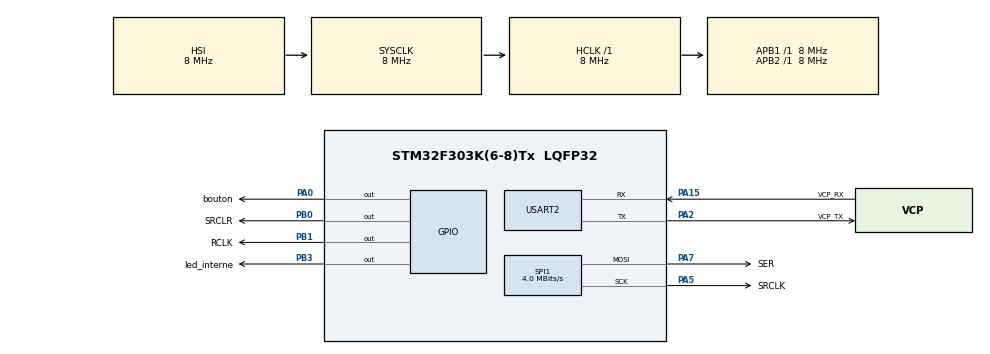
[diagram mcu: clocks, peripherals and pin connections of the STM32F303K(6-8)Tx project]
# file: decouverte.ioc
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FREERTOS.Tasks01=defaultTask,0,128,StartDefaultTask,Default,NULL
Mcu.Family=STM32F3
Mcu.Name=STM32F303K(6-8)Tx
Mcu.Package=LQFP32
NVIC.PriorityGroup=NVIC_PRIORITYGROUP_4
PA0.GPIO_Label=bouton
PA0.Signal=GPIO_Output
PA13.GPIO_Label=SWDIO
PA13.Mode=Serial_Wire
PA13.Signal=SYS_JTMS-SWDIO
PA14.GPIO_Label=SWCLK
PA14.Mode=Serial_Wire
PA14.Signal=SYS_JTCK-SWCLK
PA15.GPIO_Label=VCP_RX
PA15.Mode=Asynchronous
PA15.Signal=USART2_RX
PA2.GPIO_Label=VCP_TX
PA2.Mode=Asynchronous
PA2.Signal=USART2_TX
PA5.GPIO_Label=SRCLK
PA5.Mode=TX_Only_Simplex_Unidirect_Master
PA5.Signal=SPI1_SCK
PA7.GPIO_Label=SER
PA7.Mode=TX_Only_Simplex_Unidirect_Master
PA7.Signal=SPI1_MOSI
PB0.GPIO_Label=SRCLR
PB0.GPIO_PuPd=GPIO_PULLUP
PB0.Signal=GPIO_Output
PB1.GPIO_Label=RCLK
PB1.GPIO_PuPd=GPIO_PULLDOWN
PB1.Signal=GPIO_Output
PB3.GPIO_Label=led_interne
PB3.GPIO_PuPd=GPIO_PULLDOWN
PB3.Signal=GPIO_Output
PF0\ /\ OSC_IN.GPIO_Label=MCO
PF0\ /\ OSC_IN.Mode=HSE-External-Clock-Source
PF0\ /\ OSC_IN.Signal=RCC_OSC_IN
ProjectManager.HeapSize=0x200
ProjectManager.StackSize=0x400
ProjectManager.TargetToolchain=SW4STM32
RCC.AHBFreq_Value=8000000
RCC.APB1Freq_Value=8000000
RCC.APB2Freq_Value=8000000
RCC.CortexFreq_Value=8000000
RCC.HSE_VALUE=8000000
RCC.HSI_VALUE=8000000
RCC.SYSCLKFreq_VALUE=8000000
SPI1.BaudRatePrescaler=SPI_BAUDRATEPRESCALER_2
SPI1.CalculateBaudRate=4.0 MBits/s
SPI1.DataSize=SPI_DATASIZE_8BIT
SPI1.Direction=SPI_DIRECTION_2LINES
SPI1.Mode=SPI_MODE_MASTER
SPI1.VirtualType=VM_MASTER
USART2.VirtualMode-Asynchronous=VM_ASYNC
VP_FREERTOS_VS_ENABLE.Mode=Enabled
board=NUCLEO-F303K8

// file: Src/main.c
/**
  ******************************************************************************
  * @file           : main.c
  * @brief          : Main program body
  ******************************************************************************
  * This notice applies to any and all portions of this file
  * that are not between comment pairs USER CODE BEGIN and
  * USER CODE END. Other portions of this file, whether
  * inserted by the user or by software development tools
  * are owned by their respective copyright owners.
  *
  * Copyright (c) 2018 STMicroelectronics International N.V.
  * All rights reserved.
  *
  * Redistribution and use in source and binary forms, with or without
  * modification, are permitted, provided that the following conditions are met:
  *
  * 1. Redistribution of source code must retain the above copyright notice,
  *    this list of conditions and the following disclaimer.
  * 2. Redistributions in binary form must reproduce the above copyright notice,
  *    this list of conditions and the following disclaimer in the documentation
  *    and/or other materials provided with the distribution.
  * 3. Neither the name of STMicroelectronics nor the names of other
  *    contributors to this software may be used to endorse or promote products
  *    derived from this software without specific written permission.
  * 4. This software, including modifications and/or derivative works of this
  *    software, must execute solely and exclusively on microcontroller or
  *    microprocessor devices manufactured by or for STMicroelectronics.
  * 5. Redistribution and use of this software other than as permitted under
  *    this license is void and will automatically terminate your rights under
  *    this license.
  *
  * THIS SOFTWARE IS PROVIDED BY STMICROELECTRONICS AND CONTRIBUTORS "AS IS"
  * AND ANY EXPRESS, IMPLIED OR STATUTORY WARRANTIES, INCLUDING, BUT NOT
  * LIMITED TO, THE IMPLIED WARRANTIES OF MERCHANTABILITY, FITNESS FOR A
  * PARTICULAR PURPOSE AND NON-INFRINGEMENT OF THIRD PARTY INTELLECTUAL PROPERTY
  * RIGHTS ARE DISCLAIMED TO THE FULLEST EXTENT PERMITTED BY LAW. IN NO EVENT
  * SHALL STMICROELECTRONICS OR CONTRIBUTORS BE LIABLE FOR ANY DIRECT, INDIRECT,
  * INCIDENTAL, SPECIAL, EXEMPLARY, OR CONSEQUENTIAL DAMAGES (INCLUDING, BUT NOT
  * LIMITED TO, PROCUREMENT OF SUBSTITUTE GOODS OR SERVICES; LOSS OF USE, DATA,
  * OR PROFITS; OR BUSINESS INTERRUPTION) HOWEVER CAUSED AND ON ANY THEORY OF
  * LIABILITY, WHETHER IN CONTRACT, STRICT LIABILITY, OR TORT (INCLUDING
  * NEGLIGENCE OR OTHERWISE) ARISING IN ANY WAY OUT OF THE USE OF THIS SOFTWARE,
  * EVEN IF ADVISED OF THE POSSIBILITY OF SUCH DAMAGE.
  *
  ******************************************************************************
  */
#include "main.h"
#include "stm32f3xx_hal.h"
#include "cmsis_os.h"

/* USER CODE BEGIN Includes */
#define CODE_PERSO
#ifdef CODE_PERSO
#include "../sources/source_header/clignotant.h"
#include "../sources/source_header/afficheur_7_s.h"
#endif
/* USER CODE END Includes */

SPI_HandleTypeDef hspi1;

UART_HandleTypeDef huart2;

osThreadId defaultTaskHandle;

/* USER CODE BEGIN PV */
/* Private variables ---------------------------------------------------------*/
#ifdef CODE_PERSO_H_CLIGNOTANT_H_
osThreadId clignotantTaskHandle;
const uint32_t clignotantParameters[2] = {(uint32_t) led_interne_GPIO_Port,
										  (uint32_t) led_interne_Pin};
#endif

#ifdef AFFICHEUR_7_S_H_
osThreadId afficheurTaskHandle;
const uint32_t afficheurParameters[1] = {(uint32_t) &hspi1};
#endif
/* USER CODE END PV */

void SystemClock_Config(void);
static void MX_GPIO_Init(void);
static void MX_USART2_UART_Init(void);
static void MX_SPI1_Init(void);
void StartDefaultTask(void const * argument);

/* USER CODE BEGIN PFP */
/* Private function prototypes -----------------------------------------------*/
/* USER CODE END PFP */

int main(void)
{

  /* MCU Configuration----------------------------------------------------------*/

  /* Reset of all peripherals, Initializes the Flash interface and the Systick. */
  HAL_Init();

  /* Configure the system clock */
  SystemClock_Config();

  /* Initialize all configured peripherals */
  MX_GPIO_Init();
  MX_USART2_UART_Init();
  MX_SPI1_Init();

  /* Create the thread(s) */
  /* definition and creation of defaultTask */
  osThreadDef(defaultTask, StartDefaultTask, osPriorityNormal, 0, 128);
  defaultTaskHandle = osThreadCreate(osThread(defaultTask), NULL);

  /* USER CODE BEGIN RTOS_THREADS */
	/* add threads, ... */
#ifdef CODE_PERSO_H_CLIGNOTANT_H_
  osThreadDef(taskClignotant, StartTaskClignotant, osPriorityNormal, 0, 128);
  clignotantTaskHandle = osThreadCreate(osThread(taskClignotant), (void*) clignotantParameters);
#endif
#ifdef AFFICHEUR_7_S_H_
  osThreadDef(taskAfficheur, startTaskAfficheur, osPriorityNormal, 0, 128);
  afficheurTaskHandle = osThreadCreate(osThread(taskAfficheur), (void*) afficheurParameters);
#endif
  /* USER CODE END RTOS_THREADS */

  /* Start scheduler */
  osKernelStart();

  /* We should never get here as control is now taken by the scheduler */

  /* Infinite loop */
	while (1)
	{

	}

}

void SystemClock_Config(void)
{

  RCC_OscInitTypeDef RCC_OscInitStruct;
  RCC_ClkInitTypeDef RCC_ClkInitStruct;

    /**Initializes the CPU, AHB and APB busses clocks
    */
  RCC_OscInitStruct.OscillatorType = RCC_OSCILLATORTYPE_HSI;
  RCC_OscInitStruct.HSIState = RCC_HSI_ON;
  RCC_OscInitStruct.HSICalibrationValue = 16;
  RCC_OscInitStruct.PLL.PLLState = RCC_PLL_NONE;
  if (HAL_RCC_OscConfig(&RCC_OscInitStruct) != HAL_OK)
  {
    _Error_Handler(__FILE__, __LINE__);
  }

    /**Initializes the CPU, AHB and APB busses clocks
    */
  RCC_ClkInitStruct.ClockType = RCC_CLOCKTYPE_HCLK|RCC_CLOCKTYPE_SYSCLK
                              |RCC_CLOCKTYPE_PCLK1|RCC_CLOCKTYPE_PCLK2;
  RCC_ClkInitStruct.SYSCLKSource = RCC_SYSCLKSOURCE_HSI;
  RCC_ClkInitStruct.AHBCLKDivider = RCC_SYSCLK_DIV1;
  RCC_ClkInitStruct.APB1CLKDivider = RCC_HCLK_DIV1;
  RCC_ClkInitStruct.APB2CLKDivider = RCC_HCLK_DIV1;

  if (HAL_RCC_ClockConfig(&RCC_ClkInitStruct, FLASH_LATENCY_0) != HAL_OK)
  {
    _Error_Handler(__FILE__, __LINE__);
  }

    /**Configure the Systick interrupt time
    */
  HAL_SYSTICK_Config(HAL_RCC_GetHCLKFreq()/1000);

    /**Configure the Systick
    */
  HAL_SYSTICK_CLKSourceConfig(SYSTICK_CLKSOURCE_HCLK);

  /* SysTick_IRQn interrupt configuration */
  HAL_NVIC_SetPriority(SysTick_IRQn, 15, 0);
}

/* SPI1 init function */
static void MX_SPI1_Init(void)
{

  /* SPI1 parameter configuration*/
  hspi1.Instance = SPI1;
  hspi1.Init.Mode = SPI_MODE_MASTER;
  hspi1.Init.Direction = SPI_DIRECTION_2LINES;
  hspi1.Init.DataSize = SPI_DATASIZE_8BIT;
  hspi1.Init.CLKPolarity = SPI_POLARITY_LOW;
  hspi1.Init.CLKPhase = SPI_PHASE_1EDGE;
  hspi1.Init.NSS = SPI_NSS_SOFT;
  hspi1.Init.BaudRatePrescaler = SPI_BAUDRATEPRESCALER_2;
  hspi1.Init.FirstBit = SPI_FIRSTBIT_MSB;
  hspi1.Init.TIMode = SPI_TIMODE_DISABLE;
  hspi1.Init.CRCCalculation = SPI_CRCCALCULATION_DISABLE;
  hspi1.Init.CRCPolynomial = 7;
  hspi1.Init.CRCLength = SPI_CRC_LENGTH_DATASIZE;
  hspi1.Init.NSSPMode = SPI_NSS_PULSE_ENABLE;
  if (HAL_SPI_Init(&hspi1) != HAL_OK)
  {
    _Error_Handler(__FILE__, __LINE__);
  }

}

/* USART2 init function */
static void MX_USART2_UART_Init(void)
{

  huart2.Instance = USART2;
  huart2.Init.BaudRate = 38400;
  huart2.Init.StopBits = UART_STOPBITS_1;
  huart2.Init.Parity = UART_PARITY_NONE;
  huart2.Init.Mode = UART_MODE_TX_RX;
  huart2.Init.HwFlowCtl = UART_HWCONTROL_NONE;
  huart2.Init.OverSampling = UART_OVERSAMPLING_16;
  huart2.Init.OneBitSampling = UART_ONE_BIT_SAMPLE_DISABLE;
  huart2.AdvancedInit.AdvFeatureInit = UART_ADVFEATURE_NO_INIT;
  if (HAL_UART_Init(&huart2) != HAL_OK)
  {
    _Error_Handler(__FILE__, __LINE__);
  }

}

/** Configure pins as
        * Analog
        * Input
        * Output
        * EVENT_OUT
        * EXTI
*/
static void MX_GPIO_Init(void)
{

  GPIO_InitTypeDef GPIO_InitStruct;

  /* GPIO Ports Clock Enable */
  __HAL_RCC_GPIOF_CLK_ENABLE();
  __HAL_RCC_GPIOA_CLK_ENABLE();
  __HAL_RCC_GPIOB_CLK_ENABLE();

  /*Configure GPIO pin Output Level */
  HAL_GPIO_WritePin(bouton_GPIO_Port, bouton_Pin, GPIO_PIN_RESET);

  /*Configure GPIO pin Output Level */
  HAL_GPIO_WritePin(GPIOB, SRCLR_Pin|RCLK_Pin|led_interne_Pin, GPIO_PIN_RESET);

  /*Configure GPIO pin : bouton_Pin */
  GPIO_InitStruct.Pin = bouton_Pin;
  GPIO_InitStruct.Mode = GPIO_MODE_OUTPUT_PP;
  GPIO_InitStruct.Pull = GPIO_NOPULL;
  GPIO_InitStruct.Speed = GPIO_SPEED_FREQ_LOW;
  HAL_GPIO_Init(bouton_GPIO_Port, &GPIO_InitStruct);

  /*Configure GPIO pin : SRCLR_Pin */
  GPIO_InitStruct.Pin = SRCLR_Pin;
  GPIO_InitStruct.Mode = GPIO_MODE_OUTPUT_PP;
  GPIO_InitStruct.Pull = GPIO_PULLUP;
  GPIO_InitStruct.Speed = GPIO_SPEED_FREQ_LOW;
  HAL_GPIO_Init(SRCLR_GPIO_Port, &GPIO_InitStruct);

  /*Configure GPIO pins : RCLK_Pin led_interne_Pin */
  GPIO_InitStruct.Pin = RCLK_Pin|led_interne_Pin;
  GPIO_InitStruct.Mode = GPIO_MODE_OUTPUT_PP;
  GPIO_InitStruct.Pull = GPIO_PULLDOWN;
  GPIO_InitStruct.Speed = GPIO_SPEED_FREQ_LOW;
  HAL_GPIO_Init(GPIOB, &GPIO_InitStruct);

}

/* StartDefaultTask function */
void StartDefaultTask(void const * argument)
{

  /* USER CODE BEGIN 5 */
	int i;
	/* Infinite loop */
	for(;;)
	{
		osDelay(1);
	}
  /* USER CODE END 5 */
}

void _Error_Handler(char *file, int line)
{
	while(1)
	{
	}
}

/************************ (C) COPYRIGHT STMicroelectronics *****END OF FILE****/
